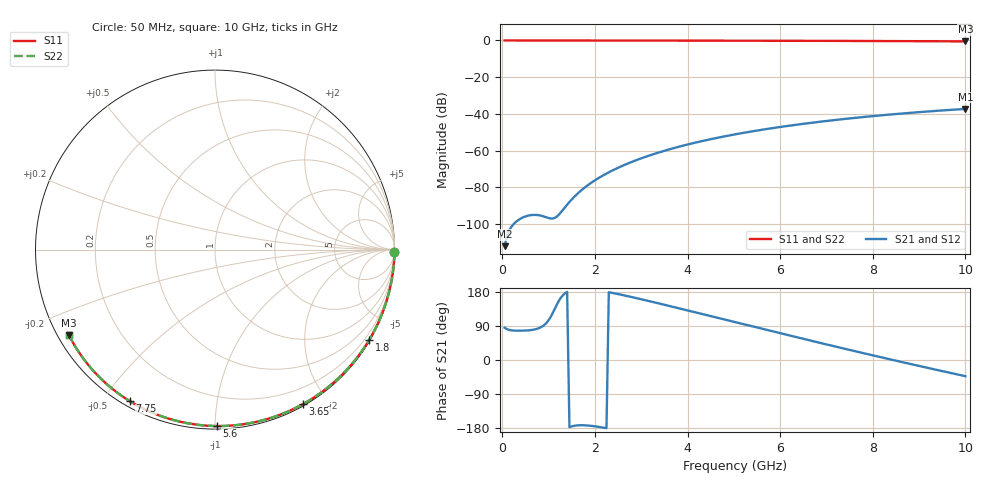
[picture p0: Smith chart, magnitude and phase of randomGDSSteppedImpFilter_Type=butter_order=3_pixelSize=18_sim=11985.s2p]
! freq	dB(S11)	phase(S11)	dB(S12)	phase(S12)
!  dB(S21)	phase(S21)	dB(S22)	phase(S22)
!S-par simulation data
#  GHz  S  DB  R 50
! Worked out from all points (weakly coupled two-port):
!   200 points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, 50 MHz to 10 GHz, reference 50 ohm
!   highest |S21| = -37.24 dB at 10 GHz (marker M1); lowest = -111.9 dB at 50 MHz (marker M2)
!   lowest |S11| = -0.5 dB at 10 GHz (marker M3), VSWR 34.22, Z = 1.57 - j13.5 ohm
!   |S11| at or under -10 dB: nowhere
!   |S22| runs from -0.5 to 0.0 dB; largest |S21 - S12| = 0
!   S11 on the Smith chart (normalised r, x): 50 MHz: open; 1.8 GHz: 0.03, -3.67; 3.65 GHz: 0.02, -1.72; 5.6 GHz: 0.02, -1.01; 7.75 GHz: 0.02, -0.59; 10 GHz: 0.03, -0.27
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0.05  -0.00 -0.9  -111.93 85.2  -111.93 85.2  -0.00 -0.9
0.45  -0.01 -7.7  -96.24 77.5  -96.24 77.5  -0.01 -7.7
0.9  -0.02 -15.4  -95.78 91.7  -95.78 91.7  -0.02 -15.4
1.75  -0.04 -29.7  -80.62 -172.2  -80.62 -172.2  -0.04 -29.7
1.8  -0.04 -30.5  -79.63 -172.5  -79.63 -172.5  -0.04 -30.5
1.95  -0.04 -33.0  -76.92 -174.2  -76.92 -174.2  -0.04 -33.0
2.1  -0.05 -35.5  -74.55 -176.8  -74.55 -176.8  -0.05 -35.5
2.3  -0.05 -38.8  -71.74 178.9  -71.74 178.9  -0.05 -38.8
2.5  -0.05 -42.0  -69.27 174.0  -69.27 174.0  -0.05 -42.0
2.9  -0.06 -48.5  -65.07 163.2  -65.07 163.2  -0.06 -48.5
3.4  -0.07 -56.4  -60.78 148.7  -60.78 148.7  -0.07 -56.4
3.65  -0.08 -60.3  -58.94 141.3  -58.94 141.3  -0.08 -60.3
4.3  -0.10 -70.3  -54.83 121.8  -54.83 121.8  -0.10 -70.3
5.05  -0.13 -81.5  -50.99 99.1  -50.99 99.1  -0.13 -81.5
5.6  -0.15 -89.5  -48.62 82.5  -48.62 82.5  -0.15 -89.5
6.15  -0.17 -97.3  -46.55 66.1  -46.55 66.1  -0.17 -97.3
6.7  -0.20 -105.0  -44.72 49.9  -44.72 49.9  -0.20 -105.0
7.2  -0.24 -111.9  -43.24 35.3  -43.24 35.3  -0.24 -111.9
7.75  -0.28 -119.3  -41.78 19.4  -41.78 19.4  -0.28 -119.3
8.35  -0.33 -127.4  -40.36 2.4  -40.36 2.4  -0.33 -127.4
9.2  -0.41 -138.8  -38.62 -21.2  -38.62 -21.2  -0.41 -138.8
10  -0.51 -149.7  -37.24 -42.7  -37.24 -42.7  -0.51 -149.7
